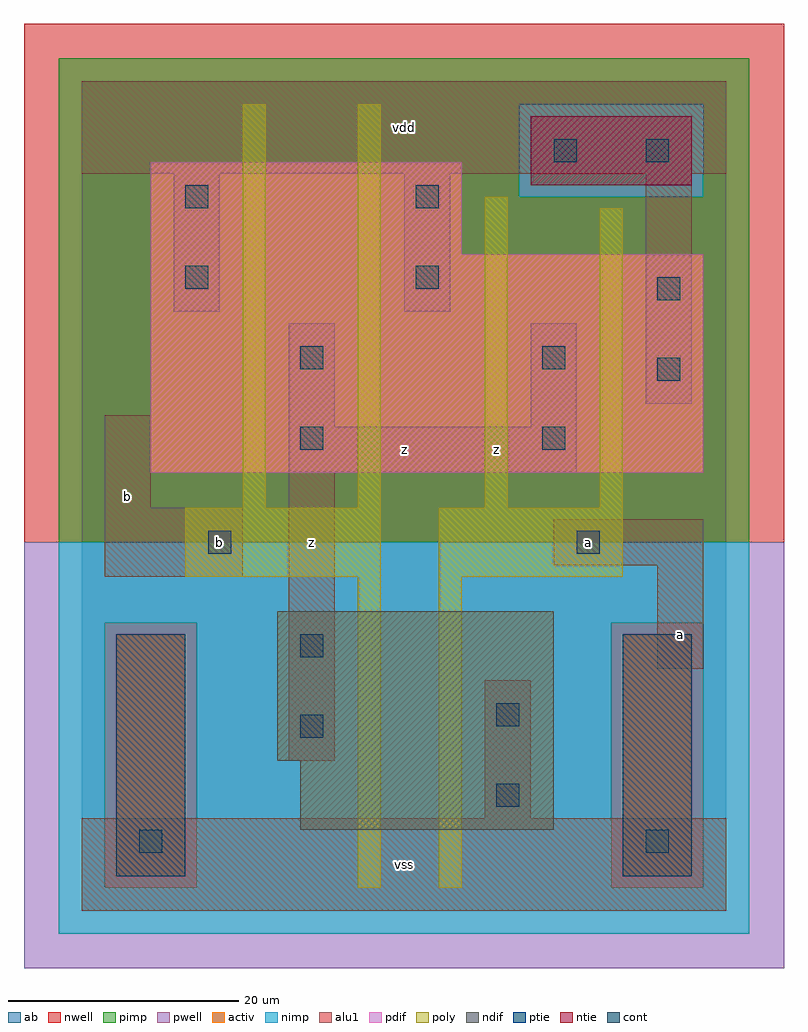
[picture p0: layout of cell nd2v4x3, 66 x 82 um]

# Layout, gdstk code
import gdstk
lib = gdstk.Library(unit=1e-6, precision=1e-09)
def R(c, l, rs):  # rectangles x0, y0, x1, y1
    for r in rs: c.add(gdstk.rectangle(r[:2], r[2:], *l))
ndif = (3, 0)
pdif = (4, 0)
ntie = (5, 0)
ptie = (6, 0)
cont = (25, 0)
pwell = (41, 0)
nwell = (42, 0)
activ = (43, 0)
pimp = (44, 0)
nimp = (45, 0)
poly = (46, 0)
alu1 = (49, 0)
ab = (63, 0)

nd2v4x3 = lib.new_cell('nd2v4x3')
R(nd2v4x3, ndif, [(19,7,41,13), (17,13,41,26)])
R(nd2v4x3, pdif, [(6,38,54,57), (6,57,33,65)])
R(nd2v4x3, ntie, [(39,63,53,69)])
R(nd2v4x3, ptie, [(3,3,9,24), (47,3,53,24)])
R(nd2v4x3, cont, [(5,5,7,7), (49,5,51,7), (36,9,38,11), (19,15,21,17), (36,16,38,18), (19,22,21,24), (11,31,13,33), (43,31,45,33), (19,40,21,42), (40,40,42,42), (50,46,52,48), (19,47,21,49), (40,47,42,49), (50,53,52,55), (9,54,11,56), (29,54,31,56), (9,61,11,63), (29,61,31,63), (41,65,43,67), (49,65,51,67)])
R(nd2v4x3, pwell, [(-5,-5,61,32)])
R(nd2v4x3, nwell, [(-5,32,61,77)])
R(nd2v4x3, activ, [(3,3,9,24), (47,3,53,24), (19,7,41,13), (17,13,41,26), (6,38,54,57), (6,57,33,65), (39,63,53,69)])
R(nd2v4x3, pimp, [(2,2,10,25), (46,2,54,25), (-2,32,58,62), (-2,62,38,70), (54,62,58,70), (-2,70,58,74)])
R(nd2v4x3, nimp, [(-2,-2,58,2), (-2,2,2,25), (10,2,46,25), (54,2,58,25), (-2,25,58,32), (38,62,54,70)])
R(nd2v4x3, poly, [(24,2,26,29), (31,2,33,29), (9,29,26,35), (31,29,47,35), (14,35,16,70), (24,35,26,70), (35,35,37,62), (45,35,47,61)])
R(nd2v4x3, alu1, [(0,0,56,8), (35,8,39,20), (18,13,22,38), (50,21,54,30), (2,29,14,35), (41,30,54,34), (2,35,6,43), (18,38,43,42), (18,42,22,51), (39,42,43,51), (49,44,53,64), (8,52,12,64), (28,52,32,64), (0,64,56,72)])
R(nd2v4x3, ab, [(0,0,56,72)])
nd2v4x3.add(gdstk.Label('b', (4,36), layer=49, texttype=0))
nd2v4x3.add(gdstk.Label('b', (12,32), layer=49, texttype=0))
nd2v4x3.add(gdstk.Label('z', (20,32), layer=49, texttype=0))
nd2v4x3.add(gdstk.Label('vss', (28,4), layer=49, texttype=0))
nd2v4x3.add(gdstk.Label('z', (36,40), layer=49, texttype=0))
nd2v4x3.add(gdstk.Label('z', (28,40), layer=49, texttype=0))
nd2v4x3.add(gdstk.Label('vdd', (28,68), layer=49, texttype=0))
nd2v4x3.add(gdstk.Label('a', (44,32), layer=49, texttype=0))
nd2v4x3.add(gdstk.Label('a', (52,24), layer=49, texttype=0))

lib.write_gds('nd2v4x3.gds')
